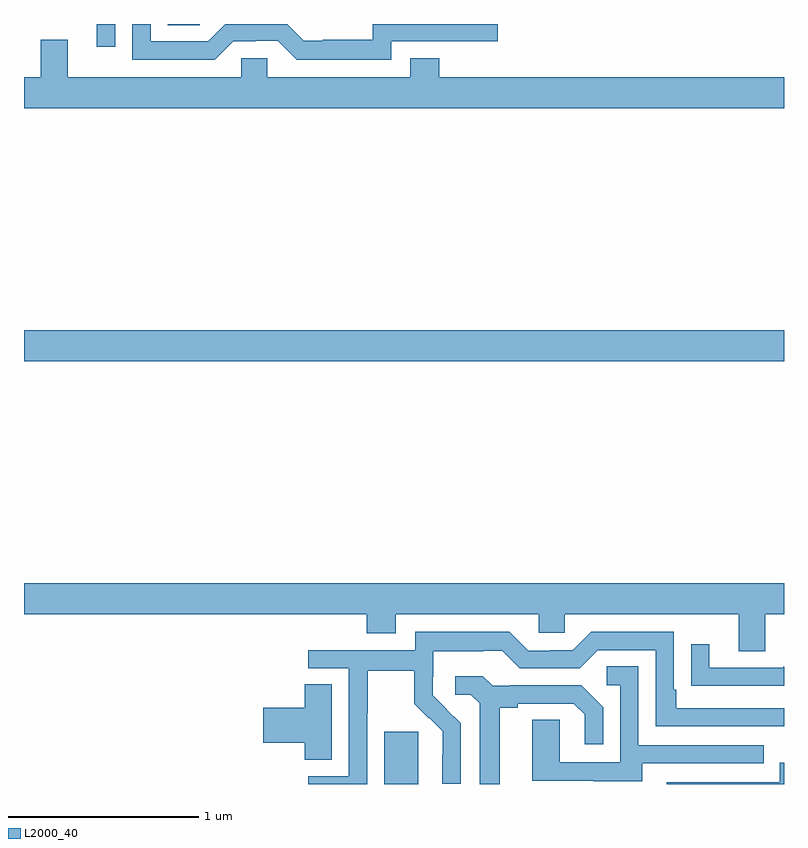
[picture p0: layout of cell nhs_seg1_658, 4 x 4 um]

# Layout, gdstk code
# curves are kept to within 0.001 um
import gdstk
lib = gdstk.Library(unit=1e-6, precision=1e-09)
def R(c, l, rs):  # rectangles x0, y0, x1, y1
    for r in rs: c.add(gdstk.rectangle(r[:2], r[2:], *l))
def P(c, l, *ps):  # polygons
    for p in ps: c.add(gdstk.Polygon(p, *l))
L2000_40 = (2000, 40)

nhs_seg1_658 = lib.new_cell('nhs_seg1_658')
R(nhs_seg1_658, L2000_40, [(148.895,524.199,149.074,524.475), (147,526.424,151,526.588), (147.383,528.078,147.479,528.199), (147.756,528.193,147.925,528.199)])
P(nhs_seg1_658, L2000_40, [(148.932,528.108),(149.494,528.108),(149.494,528.199),(148.836,528.199),(148.836,528.115),(148.573,528.115),(148.573,528.111),(148.473,528.111),(148.385,528.199),(148.06,528.199),(147.969,528.108),(147.666,528.108),(147.666,528.199),(147.57,528.199),(147.57,528.012),(148.005,528.012),(148.101,528.108),(148.22,528.108),(148.22,528.111),(148.335,528.111),(148.435,528.011),(148.932,528.011)],
  [(151,527.92),(149.186,527.92),(149.186,528.019),(149.033,528.019),(149.033,527.92),(148.281,527.92),(148.281,528.018),(148.143,528.018),(148.143,527.92),(147.229,527.92),(147.229,528.115),(147.089,528.115),(147.089,527.92),(147,527.92),(147,527.756),(151,527.756)],
  [(150.901,525.092),(151,525.092),(151,525.256),(147,525.256),(147,525.092),(148.805,525.092),(148.805,524.993),(148.957,524.993),(148.957,525.092),(149.709,525.092),(149.709,524.994),(149.847,524.994),(149.847,525.092),(150.761,525.092),(150.761,524.898),(150.901,524.898)],
  [(148.806,524.572),(148.809,524.572),(148.809,524.796),(149.053,524.796),(149.053,524.621),(149.13,524.544),(149.133,524.547),(149.204,524.477),(149.204,524.354),(149.202,524.354),(149.202,524.2),(149.298,524.2),(149.298,524.518),(149.152,524.666),(149.152,524.763),(149.154,524.763),(149.154,524.897),(149.417,524.897),(149.417,524.901),(149.517,524.901),(149.61,524.808),(149.925,524.808),(150.021,524.904),(150.324,524.904),(150.324,524.502),(151,524.502),(151,524.598),(150.433,524.598),(150.433,524.695),(150.42,524.695),(150.42,525),(149.985,525),(149.889,524.904),(149.771,524.904),(149.771,524.901),(149.655,524.901),(149.555,525.001),(149.058,525.001),(149.058,524.904),(148.497,524.904),(148.497,524.808),(148.71,524.808),(148.71,524.241),(148.497,524.241),(148.497,524.199),(148.806,524.199)],
  [(151,524.816),(150.997,524.816),(150.997,524.811),(150.607,524.811),(150.607,524.935),(150.511,524.935),(150.511,524.716),(150.613,524.716),(150.613,524.715),(151,524.715)],
  [(150.253,524.307),(150.893,524.307),(150.893,524.403),(150.234,524.403),(150.234,524.819),(150.066,524.819),(150.066,524.718),(150.138,524.718),(150.138,524.313),(149.82,524.313),(149.82,524.537),(149.675,524.537),(149.675,524.217),(149.999,524.217),(149.999,524.213),(150.253,524.213)],
  [(149.503,524.6),(149.599,524.6),(149.599,524.622),(149.894,524.622),(149.951,524.565),(149.951,524.409),(150.048,524.409),(150.048,524.602),(149.932,524.718),(149.56,524.718),(149.56,524.715),(149.466,524.715),(149.414,524.767),(149.271,524.767),(149.271,524.67),(149.352,524.67),(149.399,524.623),(149.399,524.199),(149.503,524.199)],
  [(148.621,524.723),(148.478,524.723),(148.478,524.6),(148.26,524.6),(148.26,524.417),(148.478,524.417),(148.478,524.326),(148.621,524.326)],
  [(151,524.311),(150.978,524.311),(150.978,524.208),(150.383,524.208),(150.383,524.199),(151,524.199)])

lib.write_gds('nhs_seg1_658.gds')
